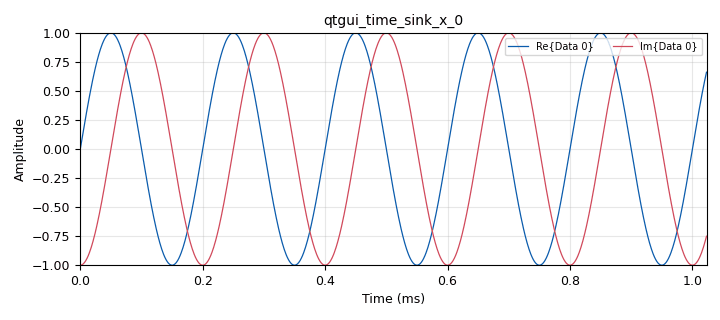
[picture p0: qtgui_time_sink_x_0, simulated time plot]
options:
  parameters:
    author: sten
    generate_options: qt_gui
    id: Labo_3
    output_language: python
    title: Oefening 2
  states: {}

blocks:
- name: samp_rate
  id: variable
  parameters:
    value: 1e6
  states: {}
- name: analog_sig_source_x_0
  id: analog_sig_source_x
  parameters:
    amp: '1'
    freq: 5e3
    offset: '0'
    phase: '0'
    samp_rate: samp_rate
    type: complex
    waveform: analog.GR_COS_WAVE
  states: {}
- name: blocks_throttle_0
  id: blocks_throttle
  parameters:
    samples_per_second: samp_rate
    type: complex
  states: {state: bypassed}
- name: qtgui_time_sink_x_0
  id: qtgui_time_sink_x
  parameters:
    size: '1024'
    srate: samp_rate
    tr_mode: qtgui.TRIG_MODE_AUTO
    type: complex
  states: {}

connections:
- [analog_sig_source_x_0, '0', blocks_throttle_0, '0']
- [blocks_throttle_0, '0', qtgui_time_sink_x_0, '0']

metadata:
  file_format: 1
